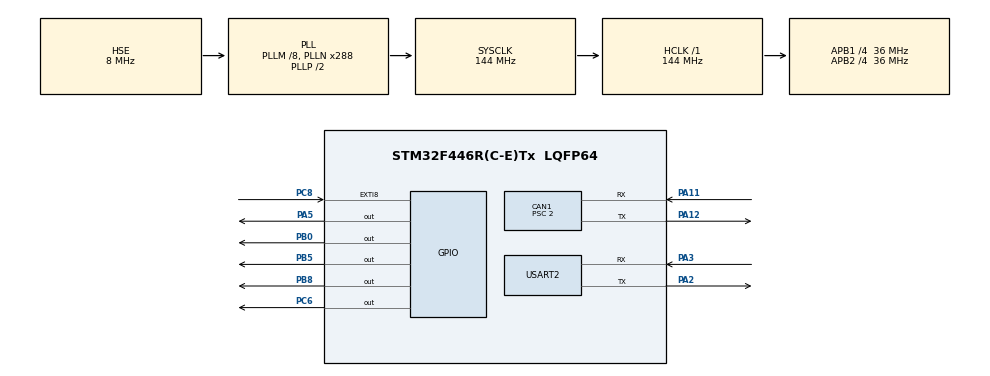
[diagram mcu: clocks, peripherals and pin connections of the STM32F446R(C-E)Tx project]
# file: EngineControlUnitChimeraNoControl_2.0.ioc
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Mcu.Family=STM32F4
RCC.PLLSourceVirtual=RCC_PLLSOURCE_HSE
TIM10.Prescaler=7199
NVIC.CAN1_RX1_IRQn=true\:0\:0\:false\:true\:true\:2\:true\:true
CAN1.NART=ENABLE
PH0-OSC_IN.Signal=RCC_OSC_IN
RCC.CortexFreq_Value=144000000
NVIC.TIM6_DAC_IRQn=true\:0\:0\:false\:true\:true\:3\:true\:true
CAN1.AWUM=ENABLE
PC8.Signal=GPXTI8
TIM6.Prescaler=719
PC6.Signal=GPIO_Output
VP_TIM6_VS_ClockSourceINT.Mode=Enable_Timer
PA11.Mode=Master
RCC.APB1CLKDivider=RCC_HCLK_DIV4
RCC.SYSCLKSource=RCC_SYSCLKSOURCE_PLLCLK
ProjectManager.StackSize=0x4000
VP_TIM7_VS_ClockSourceINT.Mode=Enable_Timer
PA3.Mode=Asynchronous
PA12.Signal=CAN1_TX
CAN1.BS2=CAN_BS2_5TQ
CAN1.BS1=CAN_BS1_12TQ
ProjectManager.TargetToolchain=Makefile
RCC.HCLKFreq_Value=144000000
RCC.APB2TimFreq_Value=72000000
VP_TIM10_VS_ClockSourceINT.Mode=Enable_Timer
TIM7.Period=19999
RCC.USBFreq_Value=36000000
NVIC.CAN1_SCE_IRQn=true\:0\:0\:false\:true\:true\:5\:true\:true
RCC.AHBFreq_Value=144000000
PH0-OSC_IN.Mode=HSE-External-Clock-Source
PA5.Signal=GPIO_Output
RCC.HSE_VALUE=8000000
TIM7.Prescaler=7199
board=ECUC
RCC.VCOOutputFreq_Value=288000000
TIM10.Period=49999
RCC.APB2Freq_Value=36000000
PH1-OSC_OUT.Signal=RCC_OSC_OUT
TIM6.Period=1999
Mcu.Name=STM32F446R(C-E)Tx
PA2.Signal=USART2_TX
PH1-OSC_OUT.Mode=HSE-External-Clock-Source
PC8.GPIO_PuPd=GPIO_PULLDOWN
RCC.SYSCLKFreq_VALUE=144000000
CAN1.Prescaler=2
Mcu.Package=LQFP64
PB5.Signal=GPIO_Output
PA12.Mode=Master
USART2.VirtualMode=VM_ASYNC
PA11.Signal=CAN1_RX
NVIC.EXTI9_5_IRQn=true\:0\:0\:false\:true\:true\:6\:true\:true
ProjectManager.HeapSize=0x2000
NVIC.TIM1_UP_TIM10_IRQn=true\:0\:0\:false\:false\:true\:true\:true
RCC.PLLQ=8
NVIC.PriorityGroup=NVIC_PRIORITYGROUP_4
RCC.APB2CLKDivider=RCC_HCLK_DIV4
RCC.PLLM=8
RCC.PLLN=288
RCC.APB1TimFreq_Value=72000000
PB8.Signal=GPIO_Output
PA2.Mode=Asynchronous
RCC.APB1Freq_Value=36000000
PB0.Signal=GPIO_Output
NVIC.TIM7_IRQn=true\:0\:0\:false\:true\:true\:4\:true\:true
NVIC.CAN1_RX0_IRQn=true\:0\:0\:false\:true\:true\:1\:true\:true
CAN1.CalculateTimeQuantum=55.55555555555556
PA3.Signal=USART2_RX

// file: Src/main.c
/* USER CODE BEGIN Header */
/**
  ******************************************************************************
  * @file           : main.c
  * @brief          : Main program body
  ******************************************************************************
  * @attention
  *
  * <h2><center>&copy; Copyright (c) 2021 STMicroelectronics.
  * All rights reserved.</center></h2>
  *
  * This software component is licensed by ST under BSD 3-Clause license,
  * the "License"; You may not use this file except in compliance with the
  * License. You may obtain a copy of the License at:
  *                        opensource.org/licenses/BSD-3-Clause
  *
  ******************************************************************************
  */
/* USER CODE END Header */

#include "main.h"

/* USER CODE BEGIN Includes */
#include "stm32f4xx_hal_gpio.h"
#include "stm32f4xx_hal_tim.h"
#include <inttypes.h>
#include <math.h>
#include <stdbool.h>
#include <stdlib.h>
#include <string.h>

#define LONG_DELTA 3000
#define SHORT_DELTA 850
#define TIMER_PERIOD 5000

#define MSG_LENGHT 8
#define NUM_DATA 100

#define ID_STEERING_WHEEL 160
#define ID_PEDALS 176
#define ID_FRONT 192
#define ID_CENTER 208
#define ID_BMS_HV 170
#define ID_BMS_LV 255
#define ID_ASK_INV_SX 0x201
#define ID_ASK_INV_DX 0x202
#define ID_REQ_INV_SX 0x181
#define ID_REQ_INV_DX 0x182
#define ID_ECU 85
#define ID_ASK_STATE 16
#define GYRO 0x4EC
#define ACCEL 0x4ED
#define ID_TELEMETRY 0x99

#define MAX_POWER 8.0

#define INV_N_MAX 7000
#define MIN_LIM_RPM 500 //min RPM without limit
#define PW_LIM_COEFF_0 0
#define PW_LIM_COEFF_1 119366 // equals to 10kW
#define PW_LIM_COEFF_2 238732 // equals to 20kW
#define PW_LIM_COEFF_3 358098 // equals to 30kW
#define PW_LIM_COEFF_4 477707 // equals to 40kW
#define PW_LIM_COEFF_5 596831 // equals to 50kW

/* USER CODE END Includes */

/* USER CODE BEGIN PD */
#define MAX(x, y) (((x) > (y)) ? (x) : (y))
#define MIN(x, y) (((x) < (y)) ? (x) : (y))

/* USER CODE END PD */

CAN_HandleTypeDef hcan1;

TIM_HandleTypeDef htim6;
TIM_HandleTypeDef htim7;
TIM_HandleTypeDef htim10;

UART_HandleTypeDef huart2;

/* USER CODE BEGIN PV */
/* Private variables ---------------------------------------------------------*/

//----------------typedef---------------
typedef uint8_t errorsInt;

// List of SCS
typedef enum
{
    APPS,
    BSE,
    LV,
    MOT_TEMP_SX,
    MOT_TEMP_DX,
    INV_TEMP_SX,
    INV_TEMP_DX,
    INV_CUR_SX,
    INV_CUR_DX,
    NUM_SCS
} scsList;

typedef struct fifoDataType
{
    int idsave;
    uint8_t RxData[MSG_LENGHT];
} fifoDataType;

typedef struct state_global_data_t
{
    bool tractiveSystem;    // Tractive system on=1/off=0
    bool go;                // run=1/setup=0
    bool breakingPedal;     // breaking pedal down=1/up=0
    bool inverterSx;        // inverter Sx enable=1/disable=0
    bool inverterDx;        // inverter Dx enable=1/disable=0
    bool requestOfShutdown; // shutdown request done yes=1/no=0
    bool writeInCan;        // write in can=1/wait next timeout=0

    bool steeringPresence;
    bool pedalsPresence;
    bool frontalPresence;
    bool centralPresence;
    bool bmsLvPresence;
    bool bmsHvPresence;
    bool invDxPresence;
    bool invSxPresence;

    errorsInt errors;
    errorsInt warningsB1;

    uint8_t scs[NUM_SCS];

    fifoDataType fifoData[NUM_DATA];

    uint16_t dataCounterUp;
    uint16_t dataCounterDown;

    uint8_t accelerator; // apps value
    uint16_t motLeftTemp;
    uint16_t motRightTemp;
    uint16_t invLeftTemp;
    uint16_t invRightTemp;
    uint16_t invLeftVol;
    uint16_t invRightVol;
    uint16_t invLeftCur;
    uint16_t invRightCur;
    int16_t invLeftRpm_filtered;
    int16_t invRightRpm_filtered;
    uint32_t hvVol;
    int16_t hvCur;
    int curRequested;
    int8_t powerRequested;  // % of power requested
    uint32_t powerLimitCoefficient; // 0,1,2,3,4,5

    uint32_t steeringTimeStamp;
    uint32_t pedalsTimeStamp;
    uint32_t frontalTimeStamp;
    uint32_t centralTimeStamp;
    uint32_t bmsLvTimeStamp;
    uint32_t bmsHvTimeStamp;
    uint32_t invDxTimeStamp;
    uint32_t invSxTimeStamp;
    uint32_t actualTime;
} state_global_data_t;

// List of states
typedef enum
{
    STATE_INIT,
    STATE_IDLE,
    STATE_SETUP,
    STATE_RUN,
    NUM_STATES
} state_t;

// State function and state transition prototypes
typedef state_t state_func_t(state_global_data_t *data);
typedef void transition_func_t(state_global_data_t *data);

/* ---------------- CAN ------------------ */
CAN_FilterTypeDef sFilter;
CAN_RxHeaderTypeDef RxHeader;
HAL_CAN_StateTypeDef state;

/* USER CODE END PV */

void SystemClock_Config(void);
static void MX_GPIO_Init(void);
static void MX_USART2_UART_Init(void);
static void MX_TIM6_Init(void);
static void MX_TIM7_Init(void);
static void MX_CAN1_Init(void);
static void MX_TIM10_Init(void);
static void MX_NVIC_Init(void);
/* USER CODE BEGIN PFP */
/* Private function prototypes -----------------------------------------------*/

//------------------CAN------------------
int CAN_Send(int id, uint8_t *dataTx, int size);
int CAN_Receive(uint8_t *DataRx, int size);

//-----State functions declarations-----
state_t run_state(state_t cur_state, state_global_data_t *data);
state_func_t *const state_table[NUM_STATES];
transition_func_t *const transition_table[NUM_STATES][NUM_STATES];
state_t do_state_init(state_global_data_t *data);
state_t do_state_idle(state_global_data_t *data);
state_t do_state_setup(state_global_data_t *data);
state_t do_state_run(state_global_data_t *data);

state_t STATO = STATE_INIT;

//--Transition functions declarations--
void to_idle(state_global_data_t *data);
void from_idle_to_setup(state_global_data_t *data);
void from_run_to_setup(state_global_data_t *data);
void to_run(state_global_data_t *data);

//---------operative function---------
void initData(state_global_data_t *data);
void canSendMSGInit(uint8_t *CanSendMSG);
void checkTimeStamp(state_global_data_t *data);
void sendStatus(state_global_data_t *data);
void sendErrors(state_global_data_t *data);
void shutdown(state_global_data_t *data);
void shutdownErrors(state_global_data_t *data, int err);
void checkValues(state_global_data_t *data);
void inverters_logging(bool essential, bool start);
void transmission(state_global_data_t *data);
/* USER CODE END PFP */

/* USER CODE BEGIN 0 */

/* ---global variables--- */

uint8_t canSendMSG[MSG_LENGHT];
state_global_data_t data;
char mander[50];
char txt[100];

/* USER CODE END 0 */

int main(void)
{

    /* MCU Configuration--------------------------------------------------------*/

    /* Reset of all peripherals, Initializes the Flash interface and the Systick. */
    HAL_Init();

    /* Configure the system clock */
    SystemClock_Config();

    /* Initialize all configured peripherals */
    MX_GPIO_Init();
    MX_USART2_UART_Init();
    MX_TIM6_Init();
    MX_TIM7_Init();
    MX_CAN1_Init();
    MX_TIM10_Init();

    /* Initialize interrupts */
    MX_NVIC_Init();
    /* USER CODE BEGIN 2 */
    sFilter.FilterMode = CAN_FILTERMODE_IDMASK;
    sFilter.FilterIdLow = 0;
    sFilter.FilterIdHigh = 0;
    sFilter.FilterMaskIdHigh = 0;
    sFilter.FilterMaskIdLow = 0;
    sFilter.FilterFIFOAssignment = CAN_FILTER_FIFO0;
    sFilter.FilterBank = 0;
    sFilter.FilterScale = CAN_FILTERSCALE_16BIT;
    sFilter.FilterActivation = ENABLE;
    HAL_CAN_ConfigFilter(&hcan1, &sFilter);

    //HAL_CAN_Init(&hcan1);
    HAL_CAN_Start(&hcan1);

    HAL_TIM_Base_Start(&htim6);
    HAL_TIM_Base_Start(&htim7);
    HAL_TIM_Base_Start_IT(&htim6);
    HAL_TIM_Base_Start_IT(&htim7);
    HAL_TIM_Base_Start(&htim10);

    __HAL_TIM_SetCounter(&htim6, 0);
    __HAL_TIM_SetCounter(&htim7, 0);
    __HAL_TIM_SetCounter(&htim10, 0);

    HAL_CAN_ActivateNotification(&hcan1, CAN1_RX0_IRQn);
    HAL_CAN_ActivateNotification(&hcan1, CAN1_RX1_IRQn);
    /* USER CODE END 2 */

    /* Infinite loop */
    /* USER CODE BEGIN WHILE */
    uint32_t previous_millis = 0;
    while (1)
    {

        STATO = run_state(STATO, &data);

        if (previous_millis != HAL_GetTick())
        {
            if (HAL_GetTick() % SHORT_DELTA == 0)
            {
                checkTimeStamp(&data);
            }

            if (HAL_GetTick() % 1000 == 0)
            {
                sendStatus(&data);
            }
            previous_millis = HAL_GetTick();
        }

        if (HAL_GetTick() % 10 > 0 && data.writeInCan == false)
        {
            data.writeInCan = true;
        }

        /* USER CODE END WHILE */

    }
}

void SystemClock_Config(void)
{
    RCC_OscInitTypeDef RCC_OscInitStruct = {0};
    RCC_ClkInitTypeDef RCC_ClkInitStruct = {0};

    /** Configure the main internal regulator output voltage
  */
    __HAL_RCC_PWR_CLK_ENABLE();
    __HAL_PWR_VOLTAGESCALING_CONFIG(PWR_REGULATOR_VOLTAGE_SCALE1);
    /** Initializes the CPU, AHB and APB busses clocks
  */
    RCC_OscInitStruct.OscillatorType = RCC_OSCILLATORTYPE_HSE;
    RCC_OscInitStruct.HSEState = RCC_HSE_BYPASS;
    RCC_OscInitStruct.PLL.PLLState = RCC_PLL_ON;
    RCC_OscInitStruct.PLL.PLLSource = RCC_PLLSOURCE_HSE;
    RCC_OscInitStruct.PLL.PLLM = 8;
    RCC_OscInitStruct.PLL.PLLN = 288;
    RCC_OscInitStruct.PLL.PLLP = RCC_PLLP_DIV2;
    RCC_OscInitStruct.PLL.PLLQ = 8;
    RCC_OscInitStruct.PLL.PLLR = 2;
    if (HAL_RCC_OscConfig(&RCC_OscInitStruct) != HAL_OK)
    {
        Error_Handler();
    }
    /** Initializes the CPU, AHB and APB busses clocks
  */
    RCC_ClkInitStruct.ClockType = RCC_CLOCKTYPE_HCLK | RCC_CLOCKTYPE_SYSCLK | RCC_CLOCKTYPE_PCLK1 | RCC_CLOCKTYPE_PCLK2;
    RCC_ClkInitStruct.SYSCLKSource = RCC_SYSCLKSOURCE_PLLCLK;
    RCC_ClkInitStruct.AHBCLKDivider = RCC_SYSCLK_DIV1;
    RCC_ClkInitStruct.APB1CLKDivider = RCC_HCLK_DIV4;
    RCC_ClkInitStruct.APB2CLKDivider = RCC_HCLK_DIV4;

    if (HAL_RCC_ClockConfig(&RCC_ClkInitStruct, FLASH_LATENCY_4) != HAL_OK)
    {
        Error_Handler();
    }
}

/**
  * @brief NVIC Configuration.
  * @retval None
  */
static void MX_NVIC_Init(void)
{
    /* CAN1_RX0_IRQn interrupt configuration */
    HAL_NVIC_SetPriority(CAN1_RX0_IRQn, 0, 0);
    HAL_NVIC_EnableIRQ(CAN1_RX0_IRQn);
    /* CAN1_RX1_IRQn interrupt configuration */
    HAL_NVIC_SetPriority(CAN1_RX1_IRQn, 0, 0);
    HAL_NVIC_EnableIRQ(CAN1_RX1_IRQn);
    /* CAN1_SCE_IRQn interrupt configuration */
    HAL_NVIC_SetPriority(CAN1_SCE_IRQn, 0, 0);
    HAL_NVIC_EnableIRQ(CAN1_SCE_IRQn);
    /* TIM6_DAC_IRQn interrupt configuration */
    HAL_NVIC_SetPriority(TIM6_DAC_IRQn, 0, 0);
    HAL_NVIC_EnableIRQ(TIM6_DAC_IRQn);
    /* TIM7_IRQn interrupt configuration */
    HAL_NVIC_SetPriority(TIM7_IRQn, 0, 0);
    HAL_NVIC_EnableIRQ(TIM7_IRQn);
    /* EXTI9_5_IRQn interrupt configuration */
    HAL_NVIC_SetPriority(EXTI9_5_IRQn, 0, 0);
    HAL_NVIC_EnableIRQ(EXTI9_5_IRQn);
}

static void MX_CAN1_Init(void)
{

    hcan1.Instance = CAN1;
    hcan1.Init.Prescaler = 2;
    hcan1.Init.Mode = CAN_MODE_NORMAL;
    hcan1.Init.SyncJumpWidth = CAN_SJW_1TQ;
    hcan1.Init.TimeSeg1 = CAN_BS1_12TQ;
    hcan1.Init.TimeSeg2 = CAN_BS2_5TQ;
    hcan1.Init.TimeTriggeredMode = DISABLE;
    hcan1.Init.AutoBusOff = DISABLE;
    hcan1.Init.AutoWakeUp = ENABLE;
    hcan1.Init.AutoRetransmission = ENABLE;
    hcan1.Init.ReceiveFifoLocked = DISABLE;
    hcan1.Init.TransmitFifoPriority = DISABLE;
    if (HAL_CAN_Init(&hcan1) != HAL_OK)
    {
        Error_Handler();
    }
}

static void MX_TIM6_Init(void)
{

    TIM_MasterConfigTypeDef sMasterConfig = {0};

    htim6.Instance = TIM6;
    htim6.Init.Prescaler = 719;
    htim6.Init.CounterMode = TIM_COUNTERMODE_UP;
    htim6.Init.Period = 1999;
    htim6.Init.AutoReloadPreload = TIM_AUTORELOAD_PRELOAD_DISABLE;
    if (HAL_TIM_Base_Init(&htim6) != HAL_OK)
    {
        Error_Handler();
    }
    sMasterConfig.MasterOutputTrigger = TIM_TRGO_RESET;
    sMasterConfig.MasterSlaveMode = TIM_MASTERSLAVEMODE_DISABLE;
    if (HAL_TIMEx_MasterConfigSynchronization(&htim6, &sMasterConfig) != HAL_OK)
    {
        Error_Handler();
    }
}

static void MX_TIM7_Init(void)
{

    TIM_MasterConfigTypeDef sMasterConfig = {0};

    htim7.Instance = TIM7;
    htim7.Init.Prescaler = 7199;
    htim7.Init.CounterMode = TIM_COUNTERMODE_UP;
    htim7.Init.Period = 19999;
    htim7.Init.AutoReloadPreload = TIM_AUTORELOAD_PRELOAD_DISABLE;
    if (HAL_TIM_Base_Init(&htim7) != HAL_OK)
    {
        Error_Handler();
    }
    sMasterConfig.MasterOutputTrigger = TIM_TRGO_RESET;
    sMasterConfig.MasterSlaveMode = TIM_MASTERSLAVEMODE_DISABLE;
    if (HAL_TIMEx_MasterConfigSynchronization(&htim7, &sMasterConfig) != HAL_OK)
    {
        Error_Handler();
    }
}

static void MX_TIM10_Init(void)
{

    htim10.Instance = TIM10;
    htim10.Init.Prescaler = 7199;
    htim10.Init.CounterMode = TIM_COUNTERMODE_UP;
    htim10.Init.Period = 49999;
    htim10.Init.ClockDivision = TIM_CLOCKDIVISION_DIV1;
    htim10.Init.AutoReloadPreload = TIM_AUTORELOAD_PRELOAD_DISABLE;
    if (HAL_TIM_Base_Init(&htim10) != HAL_OK)
    {
        Error_Handler();
    }
}

static void MX_USART2_UART_Init(void)
{

    huart2.Instance = USART2;
    huart2.Init.BaudRate = 115200;
    huart2.Init.WordLength = UART_WORDLENGTH_8B;
    huart2.Init.StopBits = UART_STOPBITS_1;
    huart2.Init.Parity = UART_PARITY_NONE;
    huart2.Init.Mode = UART_MODE_TX_RX;
    huart2.Init.HwFlowCtl = UART_HWCONTROL_NONE;
    huart2.Init.OverSampling = UART_OVERSAMPLING_16;
    if (HAL_UART_Init(&huart2) != HAL_OK)
    {
        Error_Handler();
    }
}

static void MX_GPIO_Init(void)
{
    GPIO_InitTypeDef GPIO_InitStruct = {0};

    /* GPIO Ports Clock Enable */
    __HAL_RCC_GPIOH_CLK_ENABLE();
    __HAL_RCC_GPIOA_CLK_ENABLE();
    __HAL_RCC_GPIOB_CLK_ENABLE();
    __HAL_RCC_GPIOC_CLK_ENABLE();

    /*Configure GPIO pin Output Level */
    HAL_GPIO_WritePin(GPIOA, GPIO_PIN_5, GPIO_PIN_RESET);

    /*Configure GPIO pin Output Level */
    HAL_GPIO_WritePin(GPIOB, GPIO_PIN_0 | GPIO_PIN_5 | GPIO_PIN_8, GPIO_PIN_RESET);

    /*Configure GPIO pin Output Level */
    HAL_GPIO_WritePin(GPIOC, GPIO_PIN_6, GPIO_PIN_RESET);

    /*Configure GPIO pin : PA5 */
    GPIO_InitStruct.Pin = GPIO_PIN_5;
    GPIO_InitStruct.Mode = GPIO_MODE_OUTPUT_PP;
    GPIO_InitStruct.Pull = GPIO_NOPULL;
    GPIO_InitStruct.Speed = GPIO_SPEED_FREQ_LOW;
    HAL_GPIO_Init(GPIOA, &GPIO_InitStruct);

    /*Configure GPIO pins : PB0 PB5 PB8 */
    GPIO_InitStruct.Pin = GPIO_PIN_0 | GPIO_PIN_5 | GPIO_PIN_8;
    GPIO_InitStruct.Mode = GPIO_MODE_OUTPUT_PP;
    GPIO_InitStruct.Pull = GPIO_NOPULL;
    GPIO_InitStruct.Speed = GPIO_SPEED_FREQ_LOW;
    HAL_GPIO_Init(GPIOB, &GPIO_InitStruct);

    /*Configure GPIO pin : PC6 */
    GPIO_InitStruct.Pin = GPIO_PIN_6;
    GPIO_InitStruct.Mode = GPIO_MODE_OUTPUT_PP;
    GPIO_InitStruct.Pull = GPIO_NOPULL;
    GPIO_InitStruct.Speed = GPIO_SPEED_FREQ_LOW;
    HAL_GPIO_Init(GPIOC, &GPIO_InitStruct);

    /*Configure GPIO pin : PC8 */
    GPIO_InitStruct.Pin = GPIO_PIN_8;
    GPIO_InitStruct.Mode = GPIO_MODE_IT_RISING;
    GPIO_InitStruct.Pull = GPIO_PULLDOWN;
    HAL_GPIO_Init(GPIOC, &GPIO_InitStruct);
}

/* USER CODE BEGIN 4 */

//---------------CAN--------------
int CAN_Send(int id, uint8_t dataTx[], int size)
{
    /* This function is used to send msgs via can.
	 * In the condition all the mailbox are considered to be sure that
	 * you can physically send the msg.
	 * The delay is needed because of the hardware: if you must send more
	 * than one msgs the hardware has to take its time to reload the msg. */
    uint32_t mailbox;
    uint8_t flag = 0;

    CAN_TxHeaderTypeDef TxHeader;
    TxHeader.StdId = id;
    TxHeader.IDE = CAN_ID_STD;
    TxHeader.RTR = CAN_RTR_DATA;
    TxHeader.DLC = size;
    TxHeader.TransmitGlobalTime = DISABLE;

    if (HAL_CAN_GetTxMailboxesFreeLevel(&hcan1) != 0 && HAL_CAN_IsTxMessagePending(&hcan1, CAN_TX_MAILBOX0 + CAN_TX_MAILBOX1 + CAN_TX_MAILBOX2) == 0)
    {
        HAL_CAN_AddTxMessage(&hcan1, &TxHeader, dataTx, &mailbox);
        flag = 1;
    }

    HAL_Delay(0.1);

    return flag;
}

int CAN_Receive(uint8_t *DataRx, int size)
{
    /* This function is used to receive the msgs sent by other devices */
    if (HAL_CAN_GetRxFifoFillLevel(&hcan1, CAN_RX_FIFO0) != 0)
    {
        HAL_CAN_GetRxMessage(&hcan1, CAN_RX_FIFO0, &RxHeader, DataRx);
    }

    int id = RxHeader.StdId;

    return id;
}

//-----------Interrupt-----------
void HAL_CAN_RxFifo0FullCallback(CAN_HandleTypeDef *hcan)
{
    /* This function works in interrupt mode, whenever there is a new msg sent by other
	 * devices this is called back.
	 * The idea is to save the new msg in a circular FIFO so that is possible to process
	 * it during the execution of the state in which you are after the interrupt is ended.
	 * Then it looks at the id of the msg to know which device sent it and saves the time
	 * msg is arrived.
	 * In case of the pedals the variables are immediately set because of the delay could
	 * be introduced during the processing of the FIFO in the states.
	 * After all the CounterUp is incremented to point out a new msg is arrived.
	 * Than the operation mod is done so that prevents to make counter overflow */

    bool insert_in_fifo = true;
    int idsave;
    uint8_t RxData[MSG_LENGHT];

    idsave = CAN_Receive(RxData, MSG_LENGHT);

    switch (idsave)
    {
    case ID_STEERING_WHEEL:
        data.steeringPresence = true;
        data.steeringTimeStamp = HAL_GetTick();
        break;
    case ID_PEDALS:
        if (RxData[0] == 0x01 && data.go == 1)
        {
            data.accelerator = MAX(0, round((RxData[1] - 5) * 100 / 95));
        }
        else if (RxData[0] == 0x02 && data.go == 1)
        {
            data.breakingPedal = RxData[1];
        }

        data.pedalsPresence = true;
        data.pedalsTimeStamp = HAL_GetTick();
        break;
    case ID_FRONT:
        data.frontalPresence = true;
        data.frontalTimeStamp = HAL_GetTick();
        insert_in_fifo = false;
        break;
    case ID_CENTER:
        data.centralPresence = true;
        data.centralTimeStamp = HAL_GetTick();
        insert_in_fifo = false;
        break;
    case GYRO:
        insert_in_fifo = false;
        break;
    case ACCEL:
        insert_in_fifo = false;
        break;
    case ID_REQ_INV_SX:
        data.invSxPresence = true;
        data.invSxTimeStamp = HAL_GetTick();
        break;
    case ID_REQ_INV_DX:
        data.invDxPresence = true;
        data.invDxTimeStamp = HAL_GetTick();
        break;
    case ID_BMS_HV:
        data.bmsHvPresence = true;
        data.bmsHvTimeStamp = HAL_GetTick();
        break;
    case ID_BMS_LV:
        data.bmsLvPresence = true;
        data.bmsLvTimeStamp = HAL_GetTick();
        break;
    case ID_TELEMETRY:
        HAL_GPIO_WritePin(GPIOC, GPIO_PIN_6, RxData[0]);
        insert_in_fifo = false;
        break;
    default:
        /* Non succede niente ai timestamp */
        break;
    }

    if (insert_in_fifo)
    {
        data.fifoData[data.dataCounterUp].idsave = idsave;
        for (int i = 0; i < MSG_LENGHT; i++)
        {
            data.fifoData[data.dataCounterUp].RxData[i] = RxData[i];
        }

        data.dataCounterUp += 1;
        data.dataCounterUp = data.dataCounterUp % NUM_DATA;

        if (data.dataCounterUp == data.dataCounterDown)
        {
            //shutdownErrors(&data, 0x23);
        }
    }
}

void HAL_CAN_RxFifo1FullCallback(CAN_HandleTypeDef *hcan)
{
    /* This function works in interrupt mode, whenever there is a new msg sent by other
	 * devices this is called back.
	 * The idea is to save the new msg in a circular FIFO so that is possible to process
	 * it during the execution of the state in which you are after the interrupt is ended.
	 * Then it looks at the id of the msg to know which device sent it and saves the time
	 * msg is arrived.
	 * In case of the pedals the variables are immediately set because of the delay could
	 * be introduced during the processing of the FIFO in the states.
	 * After all the CounterUp is incremented to point out a new msg is arrived.
	 * Than the operation mod is done so that prevents to make counter overflow */

    bool insert_in_fifo = true;
    int idsave;
    uint8_t RxData[MSG_LENGHT];

    idsave = CAN_Receive(RxData, MSG_LENGHT);

    switch (idsave)
    {
    case ID_STEERING_WHEEL:
        data.steeringPresence = true;
        data.steeringTimeStamp = HAL_GetTick();
        break;
    case ID_PEDALS:
        if (RxData[0] == 0x01 && data.go == 1)
        {
            data.accelerator = MAX(0, round((RxData[1] - 5) * 100.0 / 95.0));
        }
        else if (RxData[0] == 0x02 && data.go == 1)
        {
            data.breakingPedal = RxData[1];
        }

        data.pedalsPresence = true;
        data.pedalsTimeStamp = HAL_GetTick();
        break;
    case ID_FRONT:
        data.frontalPresence = true;
        data.frontalTimeStamp = HAL_GetTick();
        insert_in_fifo = false;
        break;
    case ID_CENTER:
        data.centralPresence = true;
        data.centralTimeStamp = HAL_GetTick();
        insert_in_fifo = false;
        break;
    case GYRO:
        insert_in_fifo = false;
        break;
    case ACCEL:
        insert_in_fifo = false;
        break;
    case ID_REQ_INV_SX:
        data.invSxPresence = true;
        data.invSxTimeStamp = HAL_GetTick();
        break;
    case ID_REQ_INV_DX:
        data.invDxPresence = true;
        data.invDxTimeStamp = HAL_GetTick();
        break;
    case ID_BMS_HV:
        data.bmsHvPresence = true;
        data.bmsHvTimeStamp = HAL_GetTick();
        break;
    case ID_BMS_LV:
        data.bmsLvPresence = true;
        data.bmsLvTimeStamp = HAL_GetTick();
        break;
    case ID_TELEMETRY:
        HAL_GPIO_WritePin(GPIOC, GPIO_PIN_6, RxData[0]);
        insert_in_fifo = false;
        break;
    default:
        /* Non succede niente ai timestamp */
        break;
    }

    if (insert_in_fifo)
    {

        data.fifoData[data.dataCounterUp].idsave = idsave;
        for (int i = 0; i < MSG_LENGHT; i++)
        {
            data.fifoData[data.dataCounterUp].RxData[i] = RxData[i];
        }

        data.dataCounterUp += 1;
        data.dataCounterUp = data.dataCounterUp % NUM_DATA;

        if (data.dataCounterUp == data.dataCounterDown)
        {
            //shutdownErrors(&data, 0x23);
        }
    }
}

void HAL_TIM_PeriodElapsedCallback(TIM_HandleTypeDef *htim)
{
    /* This functions works in interrupt mode, there are two conditions based on the
	 * timer.
	 * The first one is used to timing the writing in can of recursived msgs like the
	 * torque request to inverter.
	 * The second one is used to make buzzer sounds for just two seconds like set in
	 * the settings of the timer. */

    /*if (htim->Instance == TIM6){
		data.writeInCan = true;
	}*/

    if (htim->Instance == TIM7)
    {
        if (HAL_GPIO_ReadPin(GPIOB, GPIO_PIN_8) == GPIO_PIN_SET)
        {
            HAL_GPIO_WritePin(GPIOB, GPIO_PIN_8, GPIO_PIN_RESET);
        }
    }
}

//-------do_state functions-------
state_t do_state_init(state_global_data_t *data)
{
    /* This state is the initialization state: it's the first of the Finite State Machine
	 * but it's executed just one time suddenly the car is turned on. */
    initData(data);
    return STATE_IDLE;
}

state_t do_state_idle(state_global_data_t *data)
{
    static uint32_t last = 0;

    if ((!data->invSxPresence || !data->invDxPresence) & (HAL_GetTick() - last > 500))
    {
        inverters_logging(true, true);
        last = HAL_GetTick();
    }

    /* In this state the Tractive System is completely disable. This is the first state
	 * which the driver is put in contact, here it's possible to turning on the car.
	 * The first thing to do is to check if the CounterDown and the CounterUp are different,
	 * if they are it means that new msgs have been saved in the FIFO so it's possible to
	 * process it.
	 * The mod operation is done to be sure the that counter doesn't overflow.
	 * After this a switch structure checks the id of the first msg to process, if it
	 * corresponds to one of the case considered than it executes the request and
	 * increments the CounterDown else it simply increments the counter.
	 * At the end, if the driver asks for the turning on of the car ECU sends a msg
	 * to the BMS_HV, after receiving back the confirm the variable Tractive System
	 * is set to true and there the FSM goes to the SETUP state. */
    if (data->dataCounterUp != data->dataCounterDown)
    {
        switch (data->fifoData[data->dataCounterDown].idsave)
        {
        /* Debug case: just to know if it's online and in which state */
        case ID_ASK_STATE:
            canSendMSGInit(canSendMSG);
            canSendMSG[0] = 0x10;
            canSendMSG[1] = 0x01;
            CAN_Send(ID_ECU, canSendMSG, MSG_LENGHT);
            break;
        case ID_STEERING_WHEEL:
            switch (data->fifoData[data->dataCounterDown].RxData[0])
            {
            /* Check who is online */
            case 0x02: {
                sendErrors(data);
                if (data->fifoData[data->dataCounterDown].RxData[1] == 0xEC){
                    data->powerRequested = -20;
                } else {
                    data->powerRequested = data->fifoData[data->dataCounterDown].RxData[1];
                }

                switch (data->fifoData[data->dataCounterDown].RxData[2]){
                    case 0x00: {
                        data->powerLimitCoefficient = PW_LIM_COEFF_0; //OFF
                    }
                    break;
                    case 0x01: {
                        data->powerLimitCoefficient = PW_LIM_COEFF_1;
                    }
                    break;
                    case 0x02: {
                        data->powerLimitCoefficient = PW_LIM_COEFF_2;
                    }
                    break;
                    case 0x03: {
                        data->powerLimitCoefficient = PW_LIM_COEFF_3;
                    }
                    break;
                    case 0x04: {
                        data->powerLimitCoefficient = PW_LIM_COEFF_4;
                    }
                    break;
                    case 0x05: {
                        data->powerLimitCoefficient = PW_LIM_COEFF_5;
                    }
                    break;
                }
                /*
                char asd[30] = {0};
                sprintf(asd, "val: %ld\n\r", data->powerLimitCoefficient);
                HAL_UART_Transmit(&huart2, (uint8_t *)asd, 30, 10);
                */
                break;
            }

            /* Turning on car driver request */
            case 0x03:
                sendErrors(data);
                /* Check for critical errors */
                if (data->errors == 0 || data->errors == 16 || data->errors == 32 || data->errors == 48)
                {
                    /* Turning on car request to bms_hv*/
                    canSendMSGInit(canSendMSG);
                    canSendMSG[0] = 0x0A;
                    CAN_Send(ID_ECU, canSendMSG, MSG_LENGHT);
                }
                break;
            default:
                break;
            }
            break;
        case ID_BMS_HV:
            switch (data->fifoData[data->dataCounterDown].RxData[0])
            {
            /* Turning on car confirmed */
            case 0x03:
                data->tractiveSystem = true;
                break;
            /* Turning off car: shouldn't never happen here */
            case 0x04:
                data->tractiveSystem = false;
                break;
            default:
                break;
            }
            break;
        case ID_REQ_INV_SX:
            /* Check for Inverter status */
            if (data->fifoData[data->dataCounterDown].RxData[0] == 0xD8)
            {
                if (data->fifoData[data->dataCounterDown].RxData[2] == 0x0C)
                {
                    canSendMSG[0] = 0x08;
                    CAN_Send(ID_ECU, canSendMSG, MSG_LENGHT);
                    data->inverterSx = true; //WTF?? why turn on the inverters in IDLE?
                }
                else
                {
                    canSendMSG[0] = 0x0C;
                    CAN_Send(ID_ECU, canSendMSG, MSG_LENGHT);
                    data->inverterSx = false;
                }
            }
            break;
        case ID_REQ_INV_DX:
            /* Check for Inverter status */
            if (data->fifoData[data->dataCounterDown].RxData[0] == 0xD8)
            {
                if (data->fifoData[data->dataCounterDown].RxData[2] == 0x0C)
                {
                    canSendMSG[0] = 0x09;
                    CAN_Send(ID_ECU, canSendMSG, MSG_LENGHT);
                    data->inverterDx = true; //WTF?? why turn on the inverters in IDLE?
                }
                else
                {
                    canSendMSG[0] = 0x0D;
                    CAN_Send(ID_ECU, canSendMSG, MSG_LENGHT);
                    data->inverterDx = false;
                }
            }
            break;
        default:
            break;
        }
        data->dataCounterDown += 1;
        data->dataCounterDown = data->dataCounterDown % NUM_DATA;
    }

    if (data->steeringPresence == true && data->tractiveSystem == true)
    {
        return STATE_SETUP;
    }
    return STATE_IDLE;
}

state_t do_state_setup(state_global_data_t *data)
{
    /* This state is structured like IDLE.
	 * In this state is possible to:
	 * 	1. enable inverters on driver request. At the moment it's possible to
	 * 	   enable just once a time. Before sending the request it checks the
	 * 	   temperature to avoid issues.
	 *	2. go back to state IDLE on driver request. Please note: to change state
	 *	   confirm by BMS_HV is needed.
	 *	3. go to state RUN on driver request. To go to that state there are
	 *	   some conditions: first of all inverters have to be enabled; then the
	 *	   breaking pedal has to be pressed (by regulation) and no requests of
	 *	   shutdown have to be done. If everything is verified after the request
	 *	   the variable go is set to true.
	 * Since the tractive system is on, all the critical issues have to be checked
	 * so scs signals are analyzed. */
    if (data->dataCounterUp != data->dataCounterDown)
    {
        switch (data->fifoData[data->dataCounterDown].idsave)
        {
        /* Debug case: just to know if it's online and in which state */
        case ID_ASK_STATE:
            canSendMSGInit(canSendMSG);
            canSendMSG[0] = 0x10;
            canSendMSG[1] = 0x02;
            CAN_Send(ID_ECU, canSendMSG, MSG_LENGHT);
            break;
        case ID_STEERING_WHEEL:
            switch (data->fifoData[data->dataCounterDown].RxData[0])
            {
            /* Check who is online */
            case 0x02:
                sendErrors(data);
                // TODO: reinsert
                //if (data->errors != 0 && data->errors != 16 && data->errors != 32 && data->errors != 48){
                /* Turning on car request to bms_hv*/
                //shutdownErrors(data, data->errors);
                //}
                break;
            /* Stop msg from driver */
            case 0x04:
                shutdown(data);
                break;
            /* Going to run mode driver request */
            case 0x05:
                /* If inverter are turned on and break is pressed i can go to run */
                if (data->inverterSx == true && data->inverterDx == true && data->breakingPedal == true && data->requestOfShutdown == false)
                {
                    data->go = true;
                    /* Map */
                    if (data->fifoData[data->dataCounterDown].RxData[1] == 0xEC)
                    {
                        data->powerRequested = -20;
                    }
                    else
                    {
                        data->powerRequested = data->fifoData[data->dataCounterDown].RxData[1];
                    }

                    switch (data->fifoData[data->dataCounterDown].RxData[2]){
                        case 0x00: {
                            data->powerLimitCoefficient = PW_LIM_COEFF_0; //OFF
                        }
                        break;
                        case 0x01: {
                            data->powerLimitCoefficient = PW_LIM_COEFF_1;
                        }
                        break;
                        case 0x02: {
                            data->powerLimitCoefficient = PW_LIM_COEFF_2;
                        }
                        break;
                        case 0x03: {
                            data->powerLimitCoefficient = PW_LIM_COEFF_3;
                        }
                        break;
                        case 0x04: {
                            data->powerLimitCoefficient = PW_LIM_COEFF_4;
                        }
                        break;
                        case 0x05: {
                            data->powerLimitCoefficient = PW_LIM_COEFF_5;
                        }
                        break;
                    }

                    __HAL_TIM_SetCounter(&htim7, 0);
                    HAL_GPIO_WritePin(GPIOB, GPIO_PIN_8, GPIO_PIN_SET);
                }
                else
                {
                    uint8_t tosend = 0;
                    if (data->inverterSx)
                        tosend += 8;
                    if (data->inverterDx)
                        tosend += 16;
                    if (data->breakingPedal)
                        tosend += 32;
                    if (data->requestOfShutdown)
                        tosend += 64;

                    canSendMSG[0] = 0xFF;
                    canSendMSG[1] = tosend;
                    CAN_Send(ID_ECU, canSendMSG, MSG_LENGHT);
                }
                break;
            /* Turning on Inverter sx driver request */
            case 0x08:
                if (data->invLeftTemp < 80)
                {
                    canSendMSGInit(canSendMSG);

                    /* Enable Inverter msg */
                    canSendMSG[0] = 0x51;
                    canSendMSG[1] = 0x08;
                    CAN_Send(ID_ASK_INV_SX, canSendMSG, MSG_LENGHT);

                    /* Status Request */
                    canSendMSG[0] = 0x3D;
                    canSendMSG[1] = 0xD8;
                    CAN_Send(ID_ASK_INV_SX, canSendMSG, MSG_LENGHT);
                }
                break;
            /* Turning on Inverter dx driver request */
            case 0x09:
                if (data->invRightTemp < 80)
                {
                    canSendMSGInit(canSendMSG);

                    /* Enable Inverter msg */
                    canSendMSG[0] = 0x51;
                    canSendMSG[1] = 0x08;
                    CAN_Send(ID_ASK_INV_DX, canSendMSG, MSG_LENGHT);

                    /* Status Request */
                    canSendMSG[0] = 0x3D;
                    canSendMSG[1] = 0xD8;
                    CAN_Send(ID_ASK_INV_DX, canSendMSG, MSG_LENGHT);
                }
                break;
            default:
                break;
            }
            break;
        case ID_BMS_HV:
            switch (data->fifoData[data->dataCounterDown].RxData[0])
            {
            /* Shutdown confirmed */
            case 0x04:
                data->tractiveSystem = false;
                break;
            /* Shutdown caused by an error */
            case 0x08:
                data->tractiveSystem = false;
                break;
            default:
                break;
            }
            break;
        case ID_BMS_LV:
            /* Saving SCS */
            if (data->fifoData[data->dataCounterDown].RxData[0] == 0x01)
            {
                data->scs[LV] = data->fifoData[data->dataCounterDown].RxData[5];
            }
            break;
        case ID_PEDALS:
            /* Saving SCS */
            switch (data->fifoData[data->dataCounterDown].RxData[0])
            {
            case 0x01:
                data->scs[APPS] = data->fifoData[data->dataCounterDown].RxData[6];
                break;
            case 0x02:
                data->breakingPedal = data->fifoData[data->dataCounterDown].RxData[1];
                data->scs[BSE] = data->fifoData[data->dataCounterDown].RxData[6];
                break;
            default:
                break;
            }
            break;
        case ID_FRONT:
            break;
        case ID_CENTER:
            break;
        case ID_REQ_INV_SX:
            switch (data->fifoData[data->dataCounterDown].RxData[0])
            {
            case 0x4A:
                data->invLeftTemp = (data->fifoData[data->dataCounterDown].RxData[2] * 256 + data->fifoData[data->dataCounterDown].RxData[1] - 15797) / 112.1182;
                break;
            /* Check for Inverter status */
            case 0xD8:
                if (data->fifoData[data->dataCounterDown].RxData[2] == 0x0C && data->requestOfShutdown == false)
                {
                    canSendMSG[0] = 0x08;
                    CAN_Send(ID_ECU, canSendMSG, MSG_LENGHT);
                    data->inverterSx = true;
                }
                else
                {
                    canSendMSG[0] = 0x0C;
                    CAN_Send(ID_ECU, canSendMSG, MSG_LENGHT);
                    //data->inverterSx = false;
                }
                break;
            default:
                break;
            }
            break;
        case ID_REQ_INV_DX:
            switch (data->fifoData[data->dataCounterDown].RxData[0])
            {
            case 0x4A:
                data->invRightTemp = (data->fifoData[data->dataCounterDown].RxData[2] * 256 + data->fifoData[data->dataCounterDown].RxData[1] - 15797) / 112.1182;
                break;
            /* Check for Inverter status */
            case 0xD8:
                if (data->fifoData[data->dataCounterDown].RxData[2] == 0x0C && data->requestOfShutdown == false)
                {
                    canSendMSG[0] = 0x09;
                    CAN_Send(ID_ECU, canSendMSG, MSG_LENGHT);
                    data->inverterDx = true;
                }
                else
                {
                    canSendMSG[0] = 0x0D;
                    CAN_Send(ID_ECU, canSendMSG, MSG_LENGHT);
                    //data->inverterDx = false;
                }
                break;
            default:
                break;
            }
            break;
        default:
            break;
        }
        data->dataCounterDown += 1;
        data->dataCounterDown = data->dataCounterDown % NUM_DATA;
    }

    /* Check SCS */
    for (int i = 0; i < NUM_SCS; i++)
    {
        if (data->scs[i] != 0)
        {
            shutdownErrors(data, ID_STEERING_WHEEL);
        }
    }

    /* TODO: inserire un messaggio mandato ogni tot, serve per avvisare il BMS_HV che l'ecu � online */
    /*if (data->writeInCan){
		canSendMSGInit(canSendMSG);
		CAN_Send(ID_ECU, canSendMSG, MSG_LENGHT);

		data->writeInCan = false;
	}*/

    if (data->tractiveSystem == false)
    {
        return STATE_IDLE;
    }
    if (data->go == true)
    {
        return STATE_RUN;
    }

    return STATE_SETUP;
}

state_t do_state_run(state_global_data_t *data)
{
    /* This state is structured like IDLE. Here the car is completely able to run.
	 * In this state is possible to:
	 * 	1. go back to state SETUP on driver request, please note: from here is
	 * 	   not possible to go to state IDLE except for some error.
	 *	2. change map, so that driver could choose power at anytime.
	 *	3. to execute controls: yaw control and slip control to optimize trajectory
	 *	   and at the end transmit current requests to inverters.
	 * Writing in can is possible just every 10 ms, that's because otherwise it
	 * could be possible to block the can-bus.
	 * Since the tractive system is on, all the critical issues have to be checked
	 * so scs signals are analyzed. */
    if (data->dataCounterDown != data->dataCounterUp)
    {
        switch (data->fifoData[data->dataCounterDown].idsave)
        {
        /* Debug case: just to know if it's online and in which state */
        case ID_ASK_STATE:
            canSendMSGInit(canSendMSG);
            canSendMSG[0] = 0x10;
            canSendMSG[1] = 0x03;
            CAN_Send(ID_ECU, canSendMSG, MSG_LENGHT);
            break;
        case ID_STEERING_WHEEL:
            switch (data->fifoData[data->dataCounterDown].RxData[0])
            {
            /* Check who is online */
            case 0x02: {
                sendErrors(data);
                /* map changing */
                if (data->fifoData[data->dataCounterDown].RxData[1] == 0xEC)
                {
                    data->powerRequested = -20;
                }
                else
                {
                    data->powerRequested = data->fifoData[data->dataCounterDown].RxData[1];
                }

                switch (data->fifoData[data->dataCounterDown].RxData[2]){
                    case 0x00: {
                        data->powerLimitCoefficient = PW_LIM_COEFF_0; //OFF
                    }
                    break;
                    case 0x01: {
                        data->powerLimitCoefficient = PW_LIM_COEFF_1;
                    }
                    break;
                    case 0x02: {
                        data->powerLimitCoefficient = PW_LIM_COEFF_2;
                    }
                    break;
                    case 0x03: {
                        data->powerLimitCoefficient = PW_LIM_COEFF_3;
                    }
                    break;
                    case 0x04: {
                        data->powerLimitCoefficient = PW_LIM_COEFF_4;
                    }
                    break;
                    case 0x05: {
                        data->powerLimitCoefficient = PW_LIM_COEFF_5;
                    }
                    break;
                }
            }
            break;
                // TODO: reinsert
                //if (data->errors != 0 && data->errors != 16 && data->errors != 32 && data->errors != 48){
                /* Turning on car request to bms_hv*/
                //shutdownErrors(data, data->errors);
                //}
            /* Setup request */
            case 0x06:
                data->go = false;
                break;
            default:
                break;
            }
            break;
        case ID_PEDALS:
            switch (data->fifoData[data->dataCounterDown].RxData[0])
            {
            /* Saving SCS */
            case 0x01:
                data->scs[APPS] = data->fifoData[data->dataCounterDown].RxData[6];
                break;
            case 0x02:
                data->scs[BSE] = data->fifoData[data->dataCounterDown].RxData[6];
                break;
            default:
                break;
            }
            break;
        case ID_FRONT:
            break;
        case ID_CENTER:
            break;
        case ID_BMS_LV:
            switch (data->fifoData[data->dataCounterDown].RxData[0])
            {
            /* Saving SCS */
            case 0x01:
                data->scs[LV] = data->fifoData[data->dataCounterDown].RxData[5];
                break;
            default:
                break;
            }
            break;
        case ID_BMS_HV:
            switch (data->fifoData[data->dataCounterDown].RxData[0])
            {
            /* Volt --> must be converted */
            case 0x01:
                data->hvVol = ((data->fifoData[data->dataCounterDown].RxData[1] << 16) + (data->fifoData[data->dataCounterDown].RxData[2] << 8) + 0x00) / 10000;
                break;
            case 0x05:
                data->hvCur = (*(int16_t *)(data->fifoData[data->dataCounterDown].RxData + 1)) / 10;
                break;
            /* Shutdown caused by an error */
            case 0x08:
                data->tractiveSystem = false;
                data->go = false;
                break;
            default:
                break;
            }
            break;
        case ID_REQ_INV_SX:
            switch (data->fifoData[data->dataCounterDown].RxData[0])
            {
            case 0x4A:
                data->invLeftTemp = data->fifoData[data->dataCounterDown].RxData[2] * 256 + data->fifoData[data->dataCounterDown].RxData[1];
                break;
            case 0x49:
                data->motLeftTemp = data->fifoData[data->dataCounterDown].RxData[2] * 256 + data->fifoData[data->dataCounterDown].RxData[1];
                break;
            case 0xA8: // to be changed
                /* Left motor RPM */
                /*
                    The received value goes from -32767 to +32767 and has to be interpreted as -100% to +100% RPM
                    you have to divide the value with 32767 and multiply it with the maximum RPM (N max) set on the inverter
                    See example 3 at page 12 of Unitek's CAN manual, and page 20 speed unit.
                    The rpm value is taken with a moving average filter.
                */
                {
                    int16_t tmp = (int16_t)((data->fifoData[data->dataCounterDown].RxData[2] << 8) | data->fifoData[data->dataCounterDown].RxData[1]);
                    float act_left_rpm = ((float)tmp / 32767.0f) * INV_N_MAX;
                    data->invLeftRpm_filtered = (int16_t)round((act_left_rpm * 0.15) + ((1 - 0.15) * data->invLeftRpm_filtered));

                }
                break;
            default:
                break;
            }
            break;
        case ID_REQ_INV_DX:
            switch (data->fifoData[data->dataCounterDown].RxData[0])
            {
            case 0x4A:
                data->invRightTemp = data->fifoData[data->dataCounterDown].RxData[2] * 256 + data->fifoData[data->dataCounterDown].RxData[1];
                break;
            case 0x49:
                data->motRightTemp = data->fifoData[data->dataCounterDown].RxData[2] * 256 + data->fifoData[data->dataCounterDown].RxData[1];
                break;
            case 0xA8:
                /* Right motor RPM */
                /* Same as left */
                {
                    int16_t tmp = (int16_t)((data->fifoData[data->dataCounterDown].RxData[2] << 8) | data->fifoData[data->dataCounterDown].RxData[1]);
                    float act_right_rpm = ((float)tmp / 32767.0f) * INV_N_MAX;
                    data->invRightRpm_filtered = (int16_t)round((act_right_rpm * 0.15) + ((1 - 0.15) * data->invRightRpm_filtered));

                }
                break;
            default:
                break;
            }
            break;
        default:
            break;
        }
        data->dataCounterDown += 1;
        data->dataCounterDown = data->dataCounterDown % NUM_DATA;
    }

    //TODO: controllo

    if (data->writeInCan)
    {
        transmission(data);
        data->writeInCan = false;
    }

    if (data->hvCur * data->hvVol > 1500)
    {
        //shutdownErrors(data, 0x99);
    }

    checkValues(data);

    /* Check SCS */
    /*for (int i = 0; i < NUM_SCS; i++){
		if (data->scs[i] != 0){
			shutdownErrors(data, ID_STEERING_WHEEL);
		}
	}*/

    if (data->tractiveSystem == false)
    {
        return STATE_IDLE;
    }
    if (data->go == false)
    {
        return STATE_SETUP;
    }
    return STATE_RUN;
}

//-------to_state functions--------
void to_idle(state_global_data_t *data)
{
    /* This function is used everytime ECU goes to state IDLE.
	 * Here the msg to steering wheel is sent to let it know the change of
	 * state. Errors are sent as well.
	 * Moreover a data request for the temperature is sent to inverters.
	 * All the other requests to the inverters are to stop msgs useless in
	 * this state. */
    canSendMSGInit(canSendMSG);

    data->requestOfShutdown = false;

    /* Sending to steering wheel msg i'm in idle, 3 times so i'm sure it won't be lost */
    canSendMSG[0] = 0x04;
    for (int i = 0; i < 3; i++)
    {
        CAN_Send(ID_ECU, canSendMSG, MSG_LENGHT);
    }

    canSendMSGInit(canSendMSG);

    /* Sending Errors To Steering Wheel */
    canSendMSG[0] = 0x01;
    canSendMSG[1] = data->errors;
    canSendMSG[2] = data->warningsB1;
    canSendMSG[3] = 0;
    CAN_Send(ID_ECU, canSendMSG, MSG_LENGHT);

    canSendMSGInit(canSendMSG);

    /* Inverter Disable */
    canSendMSG[0] = 0x51;
    canSendMSG[1] = 0x04;
    CAN_Send(ID_ASK_INV_SX, canSendMSG, MSG_LENGHT);
    CAN_Send(ID_ASK_INV_DX, canSendMSG, MSG_LENGHT);

    /* Status Request */
    canSendMSG[0] = 0x3D;
    canSendMSG[1] = 0xD8;
    CAN_Send(ID_ASK_INV_SX, canSendMSG, MSG_LENGHT);
    CAN_Send(ID_ASK_INV_DX, canSendMSG, MSG_LENGHT);

    inverters_logging(true, true);
    inverters_logging(false, false);
}

void from_idle_to_setup(state_global_data_t *data)
{
    /* This function is used everytime ECU goes from the state IDLE to state
	 * SETUP.
	 * Here the msg to steering wheel is sent to let it know the change of
	 * state.
	 * An inverter disable request is sent to be sure that they're disable.
	 * After that a status request is sent to let it know to steering wheel.
	 * Moreover some data requests are sent to inverters. Read the
	 * descriptions for every msg. */
    canSendMSGInit(canSendMSG);

    /* Sending to steering wheel msg i'm in setup */
    canSendMSG[0] = 0x03;
    CAN_Send(ID_ECU, canSendMSG, MSG_LENGHT);

    /* Inverter Disable */
    canSendMSG[0] = 0x51;
    canSendMSG[1] = 0x04;
    CAN_Send(ID_ASK_INV_SX, canSendMSG, MSG_LENGHT);
    CAN_Send(ID_ASK_INV_DX, canSendMSG, MSG_LENGHT);

    /* Status Request */
    canSendMSG[0] = 0x3D;
    canSendMSG[1] = 0xD8;
    CAN_Send(ID_ASK_INV_SX, canSendMSG, MSG_LENGHT);
    CAN_Send(ID_ASK_INV_DX, canSendMSG, MSG_LENGHT);
}

void from_run_to_setup(state_global_data_t *data)
{
    /* This function is used everytime ECU goes from the state RUN to state
	 * SETUP.
	 * Here the msg to steering wheel is sent to let it know the change of
	 * state.
	 * An inverter disable request is sent to be sure that they're disable.
	 * After that a status request is sent to let it know to steering wheel.
	 * All the other requests to the inverters are to stop msgs useless in
	 * this state. */
    canSendMSGInit(canSendMSG);

    data->accelerator = 0;

    /* Sending to steering wheel msg i'm in setup */
    canSendMSG[0] = 0x06;
    CAN_Send(ID_ECU, canSendMSG, MSG_LENGHT);

    canSendMSGInit(canSendMSG);

    /* Inverter Disable */
    canSendMSG[0] = 0x51;
    canSendMSG[1] = 0x04;
    CAN_Send(ID_ASK_INV_SX, canSendMSG, MSG_LENGHT);
    CAN_Send(ID_ASK_INV_DX, canSendMSG, MSG_LENGHT);

    /* Status Request */
    canSendMSG[0] = 0x3D;
    canSendMSG[1] = 0xD8;
    CAN_Send(ID_ASK_INV_SX, canSendMSG, MSG_LENGHT);
    CAN_Send(ID_ASK_INV_DX, canSendMSG, MSG_LENGHT);

    inverters_logging(false, false);
}

void to_run(state_global_data_t *data)
{
    /* This function is used everytime ECU goes to state RUN.
	 * First of all timer is set to 0, that's because by regulation a
	 * buzzer has to ring for a time between 1-3 secs everytime the car
	 * is able to run.
	 * Here the msg to steering wheel is sent to let it know the change of
	 * state.
	 * Moreover some data request are sent to inverters. */
    __HAL_TIM_SetCounter(&htim7, 0);
    HAL_GPIO_WritePin(GPIOB, GPIO_PIN_8, GPIO_PIN_SET);

    canSendMSGInit(canSendMSG);

    /* Sending to steering wheel msg i'm in run */
    canSendMSG[0] = 0x05;
    CAN_Send(ID_ECU, canSendMSG, MSG_LENGHT);

    inverters_logging(false, true);
}

//-----List of state functions-----
state_func_t *const state_table[NUM_STATES] = {
    /* This list is an array called back from the state manager to
	 * know which state function execute according to the state returned
	 * by the function before. */
    do_state_init, do_state_idle,
    do_state_setup, do_state_run};

//--Table of transition functions--
transition_func_t *const transition_table[NUM_STATES][NUM_STATES] = {
    /* This matrix is called back from the state manager to know
	 * which transition function execute according to present state and
	 * the future state. */
    {NULL, to_idle, NULL, NULL},
    {NULL, NULL, from_idle_to_setup, NULL},
    {NULL, to_idle, NULL, to_run},
    {NULL, to_idle, from_run_to_setup, NULL},
};

//call the current state and returns the next one
state_t run_state(state_t cur_state, state_global_data_t *data)
{
    /* This function is the state manager.
	 * According to the cur_state passed by the function before is chosen the
	 * new_state and so on. */
    state_t new_state = state_table[cur_state](data);
    transition_func_t *transition = transition_table[cur_state][new_state];
    if (transition)
    {
        transition(data);
    }
    return new_state;
}

//--------operative function--------
void initData(state_global_data_t *data)
{
    /* This functions is used to initialize all the variables.
	 * It's called just during the state INIT. */
    data->tractiveSystem = false;    // Tractive system off
    data->go = false;                // setup
    data->breakingPedal = false;     // breaking pedal up
    data->inverterSx = false;        // inverter Sx disable
    data->inverterDx = false;        // inverter Dx disable
    data->requestOfShutdown = false; // shutdown not request
    data->writeInCan = false;        // wait next timeout for writing

    data->steeringPresence = false;
    data->pedalsPresence = false;
    data->frontalPresence = false;
    data->centralPresence = false;
    data->bmsLvPresence = false;
    data->bmsHvPresence = false;
    data->invDxPresence = false;
    data->invSxPresence = false;

    data->errors = 255;     // no devices connected
    data->warningsB1 = 255; // no sensors connected

    for (int i = 0; i < NUM_SCS; i++)
    {
        data->scs[i] = 0;
    }

    data->dataCounterUp = 0x0000;
    data->dataCounterDown = 0x0000;

    data->accelerator = 0x00;
    data->motLeftTemp = 0x0000;
    data->motRightTemp = 0x0000;
    data->invLeftTemp = 0x0000;
    data->invRightTemp = 0x0000;
    data->invLeftVol = 0x0000;
    data->invLeftRpm_filtered = 0;
    data->invRightRpm_filtered = 0;
    data->invRightVol = 0x0000;
    data->invLeftCur = 0x0000;
    data->invRightCur = 0x0000;
    data->hvCur = 0x0000;
    ;
    data->hvVol = 0x00000000;
    data->curRequested = 0.0;
    data->powerRequested = 0x00;
    data->powerLimitCoefficient = PW_LIM_COEFF_0;

    data->steeringTimeStamp = 0x0000;
    data->pedalsTimeStamp = 0x0000;
    data->frontalTimeStamp = 0x0000;
    data->centralTimeStamp = 0x0000;
    data->bmsLvTimeStamp = 0x0000;
    data->bmsHvTimeStamp = 0x0000;
    data->invDxTimeStamp = 0x0000;
    data->invSxTimeStamp = 0x0000;
}

void canSendMSGInit(uint8_t *CanSendMSG)
{
    /* This function is used to initialize the msg everytime you need to send
	 * something via can. */
    for (int i = 0; i < MSG_LENGHT; i++)
    {
        CanSendMSG[i] = 0;
    }
}

void checkTimeStamp(state_global_data_t *data)
{
    /* This function is used to compare the current time with the time of the last msg
	 * sent by a device, if a difference is greater than the preset delta the device
	 * is considered out of order.
	 * There are case since the timer is linear (from 0 to 49999 and than
	 * starts again):
	 * 	1. the first case is used when the current time is greater than the last
	 * 	   time of the msg.
	 *	2. the second case is used when the current time is lower than the last
	 *	   time of the msg, this happens when the timer has ended its period and it's
	 *	   started again from the beginning.
	 * After the check if a device is disabled it increments the variables errors and
	 * warningB1, these are reading bit for bit from the steering wheel so every bit
	 * corresponds to a device, that's why the increment is done in exponentiation of 2. */
    data->errors = 0;
    data->warningsB1 = 0;

    //data->actualTime = __HAL_TIM_GetCounter(&htim10);
    data->actualTime = HAL_GetTick();

    /* Steering Wheel Timer */
    if (data->steeringPresence == false)
        data->steeringPresence = true;
    /*
	if (data->steeringPresence == true)
	{
		if (data->actualTime - data->steeringTimeStamp > LONG_DELTA)
		{
			data->steeringPresence = false;
		}
	}*/

    /* Pedals Timer */
    if (data->pedalsPresence == true)
    {
        if (data->actualTime - data->pedalsTimeStamp > SHORT_DELTA)
        {
            data->pedalsPresence = false;
            data->errors += 8;
            data->warningsB1 += 192;
        }
    }
    else
    {
        data->errors += 8;
        data->warningsB1 += 192;
    }

    /* Frontal Timer */
    if (data->frontalPresence == true)
    {
        if (data->actualTime - data->frontalTimeStamp > SHORT_DELTA)
        {
            data->frontalPresence = false;
            data->errors += 32;
            data->warningsB1 += 60;
        }
    }
    else
    {
        data->errors += 32;
        data->warningsB1 += 60;
    }

    /* Central Timer */
    if (data->centralPresence == true)
    {
        if (data->actualTime - data->centralTimeStamp > SHORT_DELTA)
        {
            data->centralPresence = false;
            data->errors += 16;
            data->warningsB1 += 3;
        }
    }
    else
    {
        data->errors += 16;
        data->warningsB1 += 3;
    }

    /* BmsLv Timer */
    if (data->bmsLvPresence == true)
    {
        if (data->actualTime - data->bmsLvTimeStamp > LONG_DELTA)
        {
            data->bmsLvPresence = false;
            data->errors += 2;
        }
    }
    else
    {
        data->errors += 2;
    }

    /* BmsHv Timer */
    if (data->bmsHvPresence == true)
    {
        if (data->actualTime - data->bmsHvTimeStamp > LONG_DELTA)
        {
            data->bmsHvPresence = false;
            data->errors += 1;
        }
    }
    else
    {
        data->errors += 1;
    }

    /* TODO: Reintroduce Inverter Dx*/
    /* Inverter Dx Timer */
    if (data->invDxPresence == true)
    {
        if (data->actualTime - data->invDxTimeStamp > SHORT_DELTA)
        {
            data->invDxPresence = false;
            data->errors += 128;
        }
    }
    else
    {
        data->errors += 128;
    }

    /* Inverter Sx Timer */
    if (data->invSxPresence == true)
    {
        if (data->actualTime - data->invSxTimeStamp > SHORT_DELTA)
        {
            data->invSxPresence = false;
            data->errors += 64;
        }
    }
    else
    {
        data->errors += 64;
    }

    /*if (data->errors != 0){
		char mander[10];
		sprintf(mander, "%d\n\r", data->errors);
		HAL_UART_Transmit(&huart2, (uint8_t*)mander, strlen(mander), 10);
	}*/
}

void sendStatus(state_global_data_t *data)
{
    canSendMSGInit(canSendMSG);

    uint8_t map = data->powerRequested;
    uint8_t state = 0;

    if (STATO == STATE_IDLE)
        state = 0;
    if (STATO == STATE_SETUP)
        state = 1;
    if (STATO == STATE_RUN)
        state = 2;

    canSendMSG[0] = 0x01;
    canSendMSG[1] = data->errors;
    canSendMSG[2] = data->warningsB1;
    canSendMSG[3] = map;
    canSendMSG[4] = state;
    CAN_Send(ID_ECU, canSendMSG, MSG_LENGHT);
}

void sendErrors(state_global_data_t *data)
{
    /* This function is used to send errors and warnings to the steering wheel.
	 * Errors and Warnings are calculated every cycle but sent just on request. */
    canSendMSGInit(canSendMSG);

    uint8_t map = data->powerRequested;
    uint8_t state = 0;

    if (STATO == STATE_IDLE)
        state = 0;
    if (STATO == STATE_SETUP)
        state = 1;
    if (STATO == STATE_RUN)
        state = 2;

    canSendMSG[0] = 0x01;
    canSendMSG[1] = data->errors;
    canSendMSG[2] = data->warningsB1;
    canSendMSG[3] = map;
    canSendMSG[4] = state;
    CAN_Send(ID_ECU, canSendMSG, MSG_LENGHT);
}

void shutdown(state_global_data_t *data)
{
    /* This function is used to sand the turning off request to the BMS_HV.
	 * This is used just on driver request.
	 * The msg is sent three times to be sure that BMS_HV would received that. */
    canSendMSGInit(canSendMSG);

    char mander[50];
    sprintf(mander, "ShutDown\n\r");
    HAL_UART_Transmit(&huart2, (uint8_t *)mander, strlen(mander), 10);

    canSendMSG[0] = 0x0B;
    canSendMSG[1] = 0x04;
    for (int i = 0; i < 3; i++)
    {
        CAN_Send(ID_ECU, canSendMSG, MSG_LENGHT);
    }
    //data->requestOfShutdown = 1;
}

void shutdownErrors(state_global_data_t *data, int err)
{
    /* This function is used to sand the turning off request to the BMS_HV.
	 * This is used just in case of an error occurred.
	 * The msg is sent three times to be sure that BMS_HV would received that. */
    canSendMSGInit(canSendMSG);

    char mander[50];
    sprintf(mander, "ShutDown_Errors: %d\n\r", err);
    HAL_UART_Transmit(&huart2, (uint8_t *)mander, strlen(mander), 10);

    canSendMSG[0] = 0x0B;
    canSendMSG[1] = 0x08;
    canSendMSG[2] = err;
    for (int i = 0; i < 3; i++)
    {
        CAN_Send(ID_ECU, canSendMSG, MSG_LENGHT);
    }
    //data->requestOfShutdown = 1;
}

void checkValues(state_global_data_t *data)
{
    /* This function is used to check data coming from inverter.
	 * The scs array is used to keep in memory the situation of the errors. */
    if ((data->motLeftTemp - 9393.9) / 55.1 > 115)
    {
        data->scs[MOT_TEMP_SX] = 0x01;
    }
    if ((data->motRightTemp - 9393.9) / 55.1 > 115)
    {
        data->scs[MOT_TEMP_DX] = 0x01;
    }
    if ((data->invLeftTemp - 15797) / 112.12 > 80)
    {
        data->scs[INV_TEMP_SX] = 0x01;
    }
    if ((data->invRightTemp - 15797) / 112.12 > 80)
    {
        data->scs[INV_TEMP_DX] = 0x01;
    }
    if (data->invLeftCur * 200 / 560 > 235)
    {
        data->scs[INV_CUR_SX] = 0x01;
    }
    if (data->invRightCur * 200 / 560 > 235)
    {
        data->scs[INV_CUR_DX] = 0x01;
    }
}

/**
 * @brief Function used to ask the inverters to send all the parameters to be logged
 *
 * @param essential True if you want to ask all the parameters, false if you want to ask only the ones that are essential for the ecu
 * @param start true if you want to ask to send them, false if you want to stop the sending
 */
void inverters_logging(bool essential, bool start)
{
    canSendMSGInit(canSendMSG);
    if (essential)
    {
        /* Motor Temperature: 100 ms */
        canSendMSG[0] = 0x3D;
        canSendMSG[1] = 0x49;
        canSendMSG[2] = start ? 0x64 : 0xFF;
        CAN_Send(ID_ASK_INV_SX, canSendMSG, MSG_LENGHT);
        CAN_Send(ID_ASK_INV_DX, canSendMSG, MSG_LENGHT);

        /*IGBT Temperature: 100 ms*/
        canSendMSG[0] = 0x3D;
        canSendMSG[1] = 0x4A;
        canSendMSG[2] = start ? 0x64 : 0xFF;
        CAN_Send(ID_ASK_INV_SX, canSendMSG, MSG_LENGHT);
        CAN_Send(ID_ASK_INV_DX, canSendMSG, MSG_LENGHT);

        /* Actual Speed Value Filtered: 25 ms  */
        canSendMSG[0] = 0x3D;
        canSendMSG[1] = 0xA8;
        canSendMSG[2] = start ? 0x16 : 0xFF;
        CAN_Send(ID_ASK_INV_SX, canSendMSG, MSG_LENGHT);
        CAN_Send(ID_ASK_INV_DX, canSendMSG, MSG_LENGHT);
    }
    else
    {
        /* N Actual: 25 ms
        canSendMSG[0] = 0x3D;
        canSendMSG[1] = 0x30;
        canSendMSG[2] = start ? 0x16 : 0xFF;
        CAN_Send(ID_ASK_INV_SX, canSendMSG, MSG_LENGHT);
        CAN_Send(ID_ASK_INV_DX, canSendMSG, MSG_LENGHT);
        */

        /* N (cmd) ramp: 50 ms
        canSendMSG[0] = 0x3D;
        canSendMSG[1] = 0x32;
        canSendMSG[2] = start ? 0x32 : 0xFF;
        CAN_Send(ID_ASK_INV_SX, canSendMSG, MSG_LENGHT);
        CAN_Send(ID_ASK_INV_DX, canSendMSG, MSG_LENGHT);
        */

        /* Iq cmd ramp: 50 ms */
        canSendMSG[0] = 0x3D;
        canSendMSG[1] = 0x22;
        canSendMSG[2] = start ? 0x32 : 0xFF;
        CAN_Send(ID_ASK_INV_SX, canSendMSG, MSG_LENGHT);
        CAN_Send(ID_ASK_INV_DX, canSendMSG, MSG_LENGHT);

        /* I actual: 50 ms */
        canSendMSG[0] = 0x3D;
        canSendMSG[1] = 0x20;
        canSendMSG[2] = start ? 0x32 : 0xFF;
        CAN_Send(ID_ASK_INV_SX, canSendMSG, MSG_LENGHT);
        CAN_Send(ID_ASK_INV_DX, canSendMSG, MSG_LENGHT);
    }
}

void transmission(state_global_data_t *data)
{
    /* This function is used to send the current request to the inverters.
	 * The current needed is calculated considering the max power (80kW) and the
	 * voltage sent by the BMS_HV.
	 * The condition is a recommendation coming from the code of rules, is to be
	 * sure that the driver isn't pressing breaking pedal and accelerator pedal
	 * both.
	 * Current requested are opposite because of the resolver positioned in
	 * opposite direction (right and left). */
    canSendMSGInit(canSendMSG);

    /* TODO: check rules */
    //if ((data->breakingPedal == 1 && data->accelerator > 25) || (data->requestOfShutdown == true))
    if ((data->requestOfShutdown == true))
    {
        data->curRequested = 0;

        canSendMSG[0] = 0x90;
        canSendMSG[1] = 0x00;
        canSendMSG[2] = 0x00;

        CAN_Send(ID_ASK_INV_SX, canSendMSG, MSG_LENGHT);
        CAN_Send(ID_ASK_INV_DX, canSendMSG, MSG_LENGHT);
    }
    else
    {
        /* Check Inverter datasheet */
        //A maximum value of 15492 equals to 200A max absorbed
        //A maximum value of 11619 equals to 150A max absorbed
        int16_t currentToInverter = round(15492 * (data->accelerator / 100.0) * (data->powerRequested / 100.0));

        // 40kW Limit
        /* The maximum current to be asked to the inverters is calculated with a formula which
            considers the angular velocity of the motor and the max power, the value is then multiplied
            by 32767/423 which is a scaling for the inverters based on the maximum amperage value (423A)
            and the maximum commandable value (32767). This way the current is limited under a defined
            curve. For more info check Unitek CAN manual page 13*/

        int16_t currentToInverterLeft = 0;
        int16_t currentToInverterRight = 0;

        if (data->powerLimitCoefficient != PW_LIM_COEFF_0) {
            int64_t invLimitedCurrentValueLeft = abs(data->invLeftRpm_filtered) < MIN_LIM_RPM ? currentToInverter : (data->powerLimitCoefficient / (abs(data->invLeftRpm_filtered) + 1)) * (32767 / 423);
            currentToInverterLeft = MIN(currentToInverter, abs(invLimitedCurrentValueLeft));

            int64_t invLimitedCurrentValueRight = abs(data->invRightRpm_filtered) < MIN_LIM_RPM ? currentToInverter : (data->powerLimitCoefficient / (abs(data->invRightRpm_filtered) + 1)) * (32767 / 423);
            currentToInverterRight = MIN(currentToInverter, abs(invLimitedCurrentValueRight));
        } else {
            currentToInverterLeft = currentToInverter;
            currentToInverterRight = currentToInverter;
        }

        /*
        char asd[30] = {0};
        sprintf(asd, "left: %d\tright: %d\n\r", (int16_t)(((float)currentToInverterLeft / 32767.0) * 423.0), (int16_t)((((float)currentToInverterRight / 32767.0) * 423.0)));
        HAL_UART_Transmit(&huart2, (uint8_t *)asd, 30, 10);
        */

        /*
        char asd[30] = {0};
        sprintf(asd, "left: %d\tright: %d\n\r", data->invLeftRpm_filtered, data->invRightRpm_filtered);
        HAL_UART_Transmit(&huart2, (uint8_t *)asd, 30, 10);
        */

        /* Convert current to inverter */
        /* Note that right inverter has to be properly configured to turn the opposite direction,
            because the command is the same for both inverters */

        // With power limits
        canSendMSG[0] = 0x90;
        canSendMSG[1] = currentToInverterLeft & 0x00FF;
        canSendMSG[2] = (currentToInverterLeft & 0xFF00) >> 8;
        CAN_Send(ID_ASK_INV_SX, canSendMSG, MSG_LENGHT);

        canSendMSGInit(canSendMSG);
        canSendMSG[0] = 0x90;
        canSendMSG[1] = currentToInverterRight & 0x00FF;
        canSendMSG[2] = (currentToInverterRight & 0xFF00) >> 8;
        CAN_Send(ID_ASK_INV_DX, canSendMSG, MSG_LENGHT);

        /*
        // Without power limits
        canSendMSG[0] = 0x90;
        canSendMSG[1] = currentToInverter & 0x00FF;
        canSendMSG[2] = (currentToInverter & 0xFF00) >> 8;
        CAN_Send(ID_ASK_INV_SX, canSendMSG, MSG_LENGHT);
        CAN_Send(ID_ASK_INV_DX, canSendMSG, MSG_LENGHT);
        */
    }
}

void HAL_GPIO_EXTI_Callback(uint16_t GPIO_Pin)
{
    /*
    uint32_t time = HAL_GetTick();
    if (time - debounce_timer > 1000)
    {
        debounce_timer = time;
        telemetry_to_send = true;
        buttonState = !buttonState;
    }
    */
}

/* USER CODE END 4 */

void Error_Handler(void)
{
    while (1)
    {
    }
}

/************************ (C) COPYRIGHT STMicroelectronics *****END OF FILE****/
